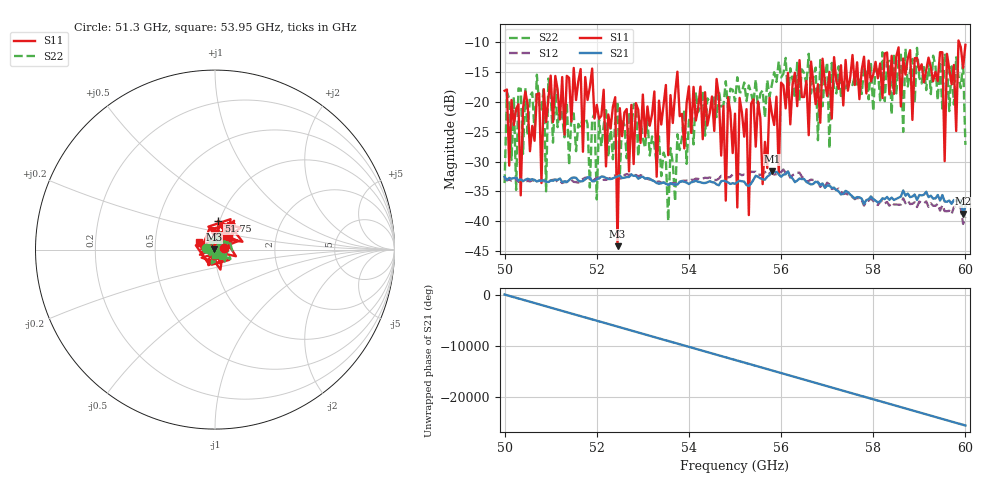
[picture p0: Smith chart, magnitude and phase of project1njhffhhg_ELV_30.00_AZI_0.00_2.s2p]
! 11/24/2026 10:00:45 AM
! C:\ANRITSUVNA\TEMP\TEMP.S2P
! CHANNEL.1
! TR.MEASUREMENT
! RAW.DATA
# HZ S RI R 50.0
! FREQ.HZ  S11RE  S11IM  S21RE  S21IM  S12RE  S12IM  S22RE  S22IM
!; PortSelection: Port_12
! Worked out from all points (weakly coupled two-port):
!   201 points, 50 GHz to 60 GHz, reference 50 ohm
!   highest |S21| = -31.63 dB at 55.8 GHz (marker M1); lowest = -38.8 dB at 59.95 GHz (marker M2)
!   lowest |S11| = -44.2 dB at 52.45 GHz (marker M3), VSWR 1.01, Z = 49.4 + j0.0743 ohm
!   |S11| at or under -10 dB: start of sweep to 59.85 GHz; 59.86407 GHz to end of sweep
!   |S22| runs from -40.0 to -10.9 dB; largest |S21 - S12| = 0.041
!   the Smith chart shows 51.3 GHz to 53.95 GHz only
!   S11 on the Smith chart (normalised r, x): 51.3 GHz: 1.11, +0.02; 51.75 GHz: 0.98, +0.32; 53.95 GHz: 0.84, +0.07
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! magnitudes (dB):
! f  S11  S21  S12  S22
! 50 GHz  -18.1  -32.6  -32.8  -33.6
! 50.35 GHz  -35.7  -33.0  -33.2  -17.8
! 50.45 GHz  -18.2  -33.1  -33.4  -17.6
! 51.3 GHz  -25.5  -33.3  -33.5  -25.9
! 51.7 GHz  -28.4  -33.3  -32.9  -22.5
! 51.75 GHz  -15.8  -33.0  -32.7  -22.5
! 52.4 GHz  -19.2  -32.7  -32.3  -23.5
! 52.45 GHz  -44.2  -32.5  -32.7  -19.9
! 52.5 GHz  -21.0  -32.3  -32.8  -32.4
! 53.35 GHz  -19.8  -33.7  -33.3  -25.8
! 53.95 GHz  -20.2  -33.5  -33.2  -30.4
! 54.6 GHz  -16.1  -33.8  -33.1  -22.5
! 54.8 GHz  -36.6  -33.3  -32.7  -16.5
! 55 GHz  -22.0  -33.7  -32.2  -19.9
! 55.25 GHz  -21.2  -34.0  -32.3  -19.9
! 55.3 GHz  -39.0  -34.1  -32.0  -17.2
! 55.35 GHz  -20.3  -33.7  -31.7  -18.5
! 55.8 GHz  -21.9  -31.6  -31.9  -17.1
! 56.7 GHz  -16.7  -33.8  -33.1  -15.9
! 58.35 GHz  -18.7  -36.4  -37.4  -13.1
! 59.95 GHz  -14.3  -38.8  -40.5  -13.2
! 60 GHz  -10.4  -37.6  -39.3  -27.2
